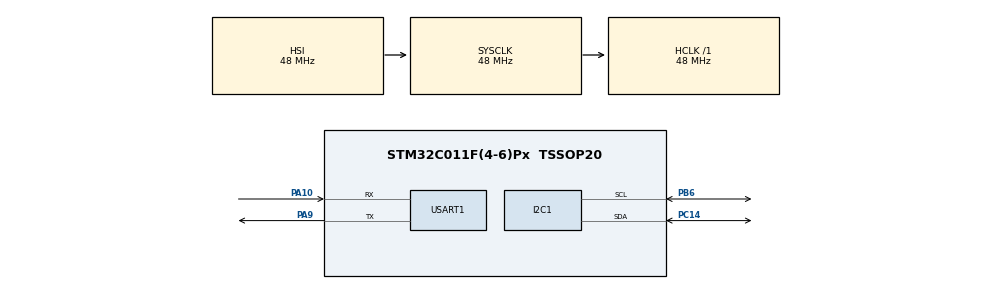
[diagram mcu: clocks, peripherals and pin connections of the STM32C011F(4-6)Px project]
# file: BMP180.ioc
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I2C1.Timing=0x20303E5D
Mcu.Family=STM32C0
Mcu.Name=STM32C011F(4-6)Px
Mcu.Package=TSSOP20
PA10\ [PA12].Mode=Asynchronous
PA10\ [PA12].Signal=USART1_RX
PA13.Mode=Serial_Wire
PA13.Signal=DEBUG_SWDIO
PA14-BOOT0.Mode=Serial_Wire
PA14-BOOT0.Signal=DEBUG_SWCLK
PA9\ [PA11].Mode=Asynchronous
PA9\ [PA11].Signal=USART1_TX
PB6.Mode=I2C
PB6.Signal=I2C1_SCL
PC14-OSCX_IN\ (PC14).Mode=I2C
PC14-OSCX_IN\ (PC14).Signal=I2C1_SDA
ProjectManager.HeapSize=0x200
ProjectManager.StackSize=0x400
ProjectManager.TargetToolchain=STM32CubeIDE
RCC.ADCFreq_Value=48000000
RCC.AHBFreq_Value=48000000
RCC.CortexFreq_Value=48000000
RCC.EXTERNAL_CLOCK_VALUE=12288000
RCC.HCLKFreq_Value=48000000
RCC.HSE_VALUE=8000000
RCC.HSISYSCLKDivider=RCC_HSI_DIV1
RCC.HSI_VALUE=48000000
RCC.LSE_VALUE=32768
RCC.SYSCLKFreq_VALUE=48000000
USART1.VirtualMode-Asynchronous=VM_ASYNC
VP_SYS_VS_PINREMAP.Mode=PINREMAP
VP_SYS_VS_PINREMAP_10_12.Mode=PINREMAP_10_12
board=custom

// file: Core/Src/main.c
/* USER CODE BEGIN Header */
/**
  ******************************************************************************
  * @file           : main.c
  * @brief          : Main program body
  ******************************************************************************
  * @attention
  *
  * Copyright (c) 2024 STMicroelectronics.
  * All rights reserved.
  *
  * This software is licensed under terms that can be found in the LICENSE file
  * in the root directory of this software component.
  * If no LICENSE file comes with this software, it is provided AS-IS.
  *
  ******************************************************************************
  */
/* USER CODE END Header */
#include "main.h"

/* USER CODE BEGIN Includes */
#include "bmp180_for_stm32_hal.h"
#include "stdio.h"
#include "stdlib.h"
#include "string.h"
#include "math.h"
/* USER CODE END Includes */

I2C_HandleTypeDef hi2c1;

UART_HandleTypeDef huart1;

void SystemClock_Config(void);
static void MX_GPIO_Init(void);
static void MX_I2C1_Init(void);
static void MX_USART1_UART_Init(void);
/* USER CODE BEGIN PFP */
int calcularPressaoNivelMar(int pressaoAtual, int altitude, int temperaturaAtual);
/* USER CODE END PFP */

int main(void)
{

  /* MCU Configuration--------------------------------------------------------*/

  /* Reset of all peripherals, Initializes the Flash interface and the Systick. */
  HAL_Init();

  /* Configure the system clock */
  SystemClock_Config();

  /* Initialize all configured peripherals */
  MX_GPIO_Init();
  MX_I2C1_Init();
  MX_USART1_UART_Init();
  /* USER CODE BEGIN 2 */
  BMP180_Init(&hi2c1);
  BMP180_SetOversampling(BMP180_STANDARD);
  BMP180_UpdateCalibrationData();
  /* USER CODE END 2 */

  /* Infinite loop */
  while (1)
  {
    /* USER CODE BEGIN 3 */
	int32_t temperatura = BMP180_GetRawTemperature();
	int32_t pressao = BMP180_GetPressure();
	char buffer[100];
    sprintf(buffer, "Temperatura: %d.%dC\r\nPressao: %d Pa\r\n", (int)temperatura / 10, (int)temperatura % 10, (int)pressao);
	HAL_UART_Transmit(&huart1, (uint8_t *)buffer, strlen(buffer), 1000);
	HAL_Delay(1000);
  }
  /* USER CODE END 3 */
}

void SystemClock_Config(void)
{
  RCC_OscInitTypeDef RCC_OscInitStruct = {0};
  RCC_ClkInitTypeDef RCC_ClkInitStruct = {0};

  /** Initializes the RCC Oscillators according to the specified parameters
  * in the RCC_OscInitTypeDef structure.
  */
  RCC_OscInitStruct.OscillatorType = RCC_OSCILLATORTYPE_HSI;
  RCC_OscInitStruct.HSIState = RCC_HSI_ON;
  RCC_OscInitStruct.HSIDiv = RCC_HSI_DIV1;
  RCC_OscInitStruct.HSICalibrationValue = RCC_HSICALIBRATION_DEFAULT;
  if (HAL_RCC_OscConfig(&RCC_OscInitStruct) != HAL_OK)
  {
    Error_Handler();
  }

  /** Initializes the CPU, AHB and APB buses clocks
  */
  RCC_ClkInitStruct.ClockType = RCC_CLOCKTYPE_HCLK|RCC_CLOCKTYPE_SYSCLK
                              |RCC_CLOCKTYPE_PCLK1;
  RCC_ClkInitStruct.SYSCLKSource = RCC_SYSCLKSOURCE_HSI;
  RCC_ClkInitStruct.SYSCLKDivider = RCC_SYSCLK_DIV1;
  RCC_ClkInitStruct.AHBCLKDivider = RCC_HCLK_DIV1;
  RCC_ClkInitStruct.APB1CLKDivider = RCC_APB1_DIV1;

  if (HAL_RCC_ClockConfig(&RCC_ClkInitStruct, FLASH_LATENCY_1) != HAL_OK)
  {
    Error_Handler();
  }
}

static void MX_I2C1_Init(void)
{

  hi2c1.Instance = I2C1;
  hi2c1.Init.Timing = 0x20303E5D;
  hi2c1.Init.OwnAddress1 = 0;
  hi2c1.Init.AddressingMode = I2C_ADDRESSINGMODE_7BIT;
  hi2c1.Init.DualAddressMode = I2C_DUALADDRESS_DISABLE;
  hi2c1.Init.OwnAddress2 = 0;
  hi2c1.Init.OwnAddress2Masks = I2C_OA2_NOMASK;
  hi2c1.Init.GeneralCallMode = I2C_GENERALCALL_DISABLE;
  hi2c1.Init.NoStretchMode = I2C_NOSTRETCH_DISABLE;
  if (HAL_I2C_Init(&hi2c1) != HAL_OK)
  {
    Error_Handler();
  }

  /** Configure Analogue filter
  */
  if (HAL_I2CEx_ConfigAnalogFilter(&hi2c1, I2C_ANALOGFILTER_ENABLE) != HAL_OK)
  {
    Error_Handler();
  }

  /** Configure Digital filter
  */
  if (HAL_I2CEx_ConfigDigitalFilter(&hi2c1, 0) != HAL_OK)
  {
    Error_Handler();
  }

}

static void MX_USART1_UART_Init(void)
{

  huart1.Instance = USART1;
  huart1.Init.BaudRate = 115200;
  huart1.Init.WordLength = UART_WORDLENGTH_8B;
  huart1.Init.StopBits = UART_STOPBITS_1;
  huart1.Init.Parity = UART_PARITY_NONE;
  huart1.Init.Mode = UART_MODE_TX_RX;
  huart1.Init.HwFlowCtl = UART_HWCONTROL_NONE;
  huart1.Init.OverSampling = UART_OVERSAMPLING_16;
  huart1.Init.OneBitSampling = UART_ONE_BIT_SAMPLE_DISABLE;
  huart1.Init.ClockPrescaler = UART_PRESCALER_DIV1;
  huart1.AdvancedInit.AdvFeatureInit = UART_ADVFEATURE_NO_INIT;
  if (HAL_UART_Init(&huart1) != HAL_OK)
  {
    Error_Handler();
  }
  if (HAL_UARTEx_SetTxFifoThreshold(&huart1, UART_TXFIFO_THRESHOLD_1_8) != HAL_OK)
  {
    Error_Handler();
  }
  if (HAL_UARTEx_SetRxFifoThreshold(&huart1, UART_RXFIFO_THRESHOLD_1_8) != HAL_OK)
  {
    Error_Handler();
  }
  if (HAL_UARTEx_DisableFifoMode(&huart1) != HAL_OK)
  {
    Error_Handler();
  }

}

static void MX_GPIO_Init(void)
{

  /* GPIO Ports Clock Enable */
  __HAL_RCC_GPIOC_CLK_ENABLE();
  __HAL_RCC_GPIOA_CLK_ENABLE();
  __HAL_RCC_GPIOB_CLK_ENABLE();

}

void Error_Handler(void)
{
  __disable_irq();
  while (1)
  {
  }
}
